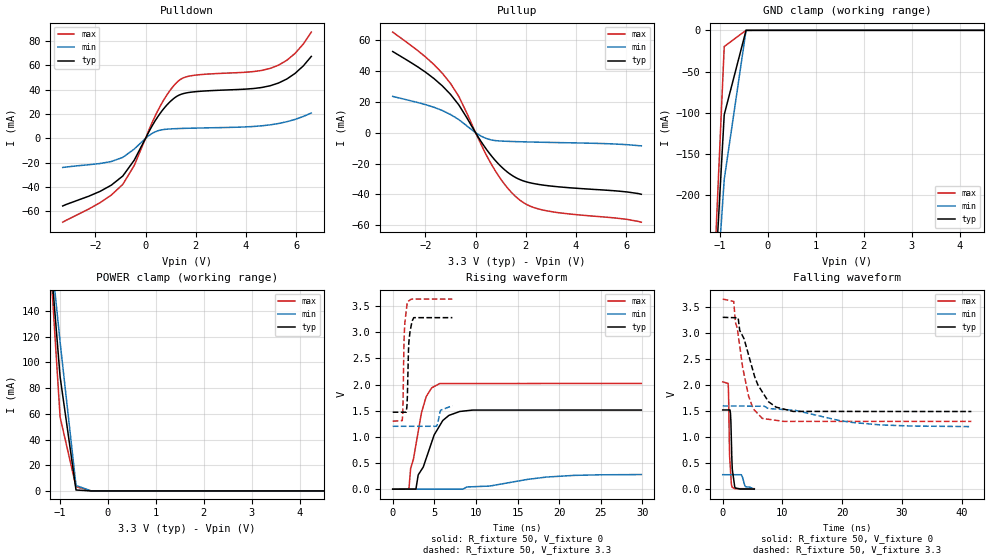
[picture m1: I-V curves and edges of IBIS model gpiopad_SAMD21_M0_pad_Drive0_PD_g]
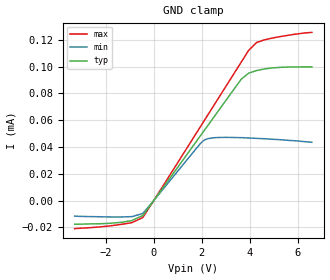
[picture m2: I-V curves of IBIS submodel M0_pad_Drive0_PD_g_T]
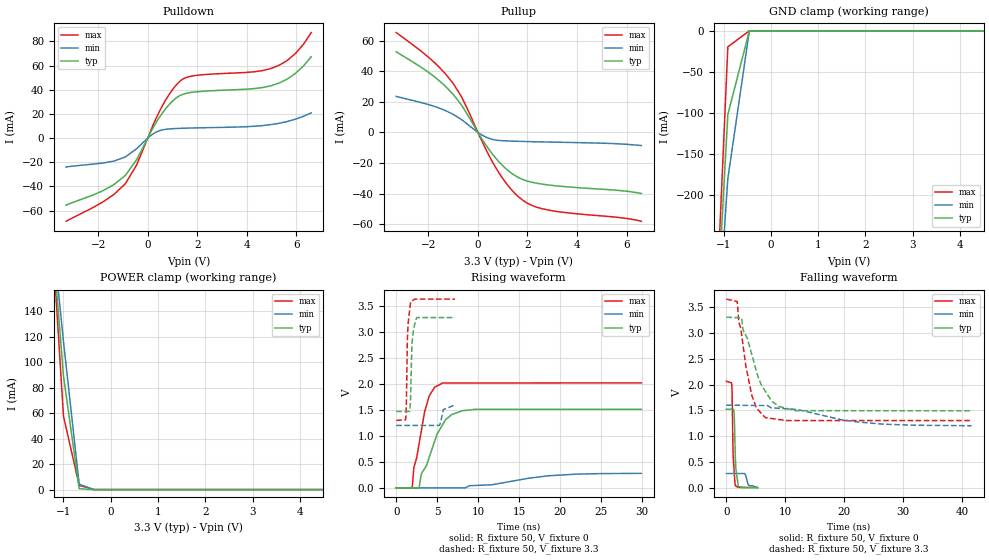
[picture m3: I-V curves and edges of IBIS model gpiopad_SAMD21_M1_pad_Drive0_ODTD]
|   - ATMEL Microcontrollers -
|   IBIS model for SAMD21_QFN48
[IBIS Ver]   4.2
[Comment char]  |_char
[File Name]   samd21_3m48.ibs
[File Rev]   1.1
[Date]   16-SEP-2015 11:09:59
[Source]   By GENIBIS V3.6 - GENerate chip IBIS model - 11-SEP-2015
[Notes]   Property of ATMEL Corporation
[Disclaimer]
                  (C) Copyright ATMEL Nantes 2002-2015
Atmel Nantes makes no warranty for the use of its products, other than
those expressly contained in the Company's standard warranty which is detailed
in Atmel's Terms and Conditions located on the Company's web site. The Company
assumes no responsability for any errors which may appear in this document.
The user is granted this license only to use the IBIS model and is not granted
rights to sell, load, rent, lease or license the IBIS model in whole or in part,
or in modified form to anyone other than user. User may modify the IBIS model
to suit its specific applications but rights to derivative works and such
modifications shall belong to Atmel Nantes.
This IBIS model is provided on an \"AS IS\" basis and Atmel Nantes makes
absolutely no warranty with respect to the information contained herein.
[Copyright]   Copyright (c) 2002-2015 by ATMEL Nantes SA
|   COMPONENT : SAMD21_QFN48
[Component]   SAMD21_QFN48
[Manufacturer]  ATMEL Nantes SAS
[Package]
| Package family : QFN
| RLC file   : V1.1
| RLCEDIT tool   : V1.3-2009/04/07
| variable   typ   min   max
R_pkg   126.68m   NA   NA
L_pkg   0.95n   NA   NA
C_pkg   47.54f   NA   NA
[Pin]   signal_name   model_name   R_pin   L_pin   C_pin
|   Real model names   <--->   IBIS model names
|   gpiopadrw100m33v3p66k25   gpiopad_SAMD21
|   gpiopadrw100m33v3p66k25   gpiopad_SAMD21
|   gpiopadrw100m33v3p66k25   gpiopad_SAMD21
|   gpiopadrw100m33v3p66k25   gpiopad_SAMD21
|   gpiopadrw100m33v3p66k25   gpiopad_SAMD21
|   gpiopadrw100m33v3p66k25   gpiopad_SAMD21
| gpiopadrtwihsmw100m33v3p66k25   gpiopadtwi_SAMD21
| gpiopadrtwihsmw100m33v3p66k25   gpiopadtwi_SAMD21
| gpiopadrtwihsmw100m33v3p66k25   gpiopadtwi_SAMD21
| gpiopadrtwihsmw100m33v3p66k25   gpiopadtwi_SAMD21
| gpiopadrtwihsmw100m33v3p66k25   gpiopadtwi_SAMD21
| gpiopadrtwihsmw100m33v3p66k25   gpiopadtwi_SAMD21
| gpiopadrtwihsmw100m33v3p66k25   gpiopadtwi_SAMD21
| gpiopadrtwihsmw100m33v3p66k25   gpiopadtwi_SAMD21
| gpiopadrtwihsmw100m33v3p66k25   gpiopadtwi_SAMD21
   1   PA00   gpiopad_SAMD21  154.09m   1.15n   47.51f
   2   PA01   gpiopad_SAMD21  133.72m   1.00n   46.39f
   3   PA02   gpiopad_SAMD21  124.65m  936.15p   45.89f
   4   PA03   gpiopad_SAMD21  112.49m  847.55p   45.23f
   5   GNDANA   GND   35.83m  288.70p   56.73f
   6   VDDANA   POWER   53.10m  414.56p   50.70f
   7   PB08   gpiopad_SAMD21  109.80m  827.95p   45.08f
   8   PB09   gpiopad_SAMD21  103.54m  782.32p   44.74f
   9   PA04   gpiopad_SAMD21  105.83m  799.02p   44.86f
   10   PA05   gpiopad_SAMD21  114.61m  862.97p   45.34f
   11   PA06   gpiopad_SAMD21  130.51m  978.88p   46.22f
   12   PA07   gpiopad_SAMD21  150.43m   1.12n   47.31f
   13   PA08   gpiopadtwi_SAMD21  172.57m   1.29n   48.52f
   14   PA09   gpiopadtwi_SAMD21  159.20m   1.19n   47.79f
   15   PA10   gpiopad_SAMD21  144.35m   1.08n   46.97f
   16   PA11   gpiopad_SAMD21  134.46m   1.01n   46.43f
   17   VDDIO   POWER  130.68m  980.18p   46.22f
   18   GND   GND  133.54m   1.00n   46.38f
   19   PB10   gpiopad_SAMD21  142.62m   1.07n   46.88f
   20   PB11   gpiopad_SAMD21  156.85m   1.17n   47.66f
   21   PA12   gpiopadtwi_SAMD21  133.03m  997.26p   46.35f
   22   PA13   gpiopadtwi_SAMD21  140.04m   1.05n   46.74f
   23   PA14   gpiopad_SAMD21  150.45m   1.12n   47.31f
   24   PA15   gpiopad_SAMD21  154.93m   1.16n   47.56f
   25   PA16   gpiopadtwi_SAMD21  164.47m   1.23n   48.08f
   26   PA17   gpiopadtwi_SAMD21  145.78m   1.09n   47.05f
   27   PA18   gpiopad_SAMD21  126.35m  948.56p   45.99f
   28   PA19   gpiopad_SAMD21  111.75m  842.15p   45.19f
   29   PA20   gpiopad_SAMD21  108.53m  818.65p   45.01f
   30   PA21   gpiopad_SAMD21  103.35m  780.90p   44.72f
   31   PA22   gpiopadtwi_SAMD21  103.65m  783.12p   44.74f
   32   PA23   gpiopadtwi_SAMD21  108.90m  821.37p   45.03f
   33   PA24   NC  121.18m  910.91p   45.70f
   34   PA25   NC  125.06m  939.14p   45.92f
   35   GND   GND  143.33m   1.07n   46.92f
   36   VDDIO   POWER  165.01m   1.23n   48.11f
   37   PB22   gpiopad_SAMD21  169.78m   1.27n   48.37f
   38   PB23   gpiopad_SAMD21  152.33m   1.14n   47.41f
   39   PA27   gpiopad_SAMD21  140.22m   1.05n   46.75f
   40   RESET_N   gpiopad_SAMD21  133.16m  998.23p   46.36f
   41   PA28   gpiopad_SAMD21  130.74m  980.62p   46.23f
   42   GND   GND   44.18m  349.58p   60.85f
   43   VDDCORE   POWER   43.62m  345.44p   60.57f
   44   VDDIO   POWER   66.28m  510.66p   53.59f
   45   PA30   gpiopad_SAMD21  139.73m   1.05n   46.72f
   46   PA31   gpiopad_SAMD21  153.02m   1.14n   47.45f
   47   PB02   gpiopad_SAMD21  140.79m   1.05n   46.78f
   48   PB03   gpiopad_SAMD21  158.00m   1.18n   47.72f
|   MODEL SELECTOR : gpiopadtwi_SAMD21
[Model Selector]   gpiopadtwi_SAMD21
gpiopadtwi_SAMD21_M8_TwiOnInt_gptwih   Twi On Int TwiOnInt
gpiopadtwi_SAMD21_M7_TwiOnFp_gpitwih   Twi On Fp TwiOnFp
gpiopadtwi_SAMD21_M6_TwiOn_gpioptwih   Twi On TwiOn
gpiopadtwi_SAMD21_M5_Drive1_PU_gtwih   drive 1 PU
gpiopadtwi_SAMD21_M4_Drive1_ODTdtwih   drive 1 ODT disabled
gpiopadtwi_SAMD21_M3_Drive1_NOPUtwih   drive 1 NOPU
gpiopadtwi_SAMD21_M2_Drive0_PU_gtwih   drive 0 PU
gpiopadtwi_SAMD21_M1_Drive0_ODTdtwih   drive 0 ODT disabled
gpiopadtwi_SAMD21_M0_Drive0_NOPUtwih   drive 0 NOPU
|   MODEL SELECTOR : gpiopad_SAMD21
[Model Selector]   gpiopad_SAMD21
gpiopad_SAMD21_M5_pad_Drive1_PU_g   drive 1 PU
gpiopad_SAMD21_M4_pad_Drive1_ODTD   drive 1 ODT Disabled
gpiopad_SAMD21_M3_pad_Drive1_PD_g   drive 1 PD
gpiopad_SAMD21_M2_pad_Drive0_PU_g   drive 0 PU
gpiopad_SAMD21_M1_pad_Drive0_ODTD   drive 0 ODT Disabled
gpiopad_SAMD21_M0_pad_Drive0_PD_g   drive 0 PD
| Models and submodels in the file (23): gpiopad_SAMD21_M0_pad_Drive0_PD_g (I/O), M0_pad_Drive0_PD_g_T (Dynamic_clamp), gpiopad_SAMD21_M1_pad_Drive0_ODTD (I/O), gpiopad_SAMD21_M2_pad_Drive0_PU_g (I/O), M2_pad_Drive0_PU_g_T (Dynamic_clamp), gpiopad_SAMD21_M3_pad_Drive1_PD_g (I/O), M3_pad_Drive1_PD_g_T (Dynamic_clamp), gpiopad_SAMD21_M4_pad_Drive1_ODTD (I/O), gpiopad_SAMD21_M5_pad_Drive1_PU_g (I/O), M5_pad_Drive1_PU_g_T (Dynamic_clamp), gpiopadtwi_SAMD21_M0_Drive0_NOPUtwih (I/O), M0_Drive0_NOPUtwih_T (Dynamic_clamp), gpiopadtwi_SAMD21_M1_Drive0_ODTdtwih (I/O), gpiopadtwi_SAMD21_M2_Drive0_PU_gtwih (I/O), M2_Drive0_PU_gtwih_T (Dynamic_clamp), gpiopadtwi_SAMD21_M3_Drive1_NOPUtwih (I/O), M3_Drive1_NOPUtwih_T (Dynamic_clamp), gpiopadtwi_SAMD21_M4_Drive1_ODTdtwih (I/O), gpiopadtwi_SAMD21_M5_Drive1_PU_gtwih (I/O), M5_Drive1_PU_gtwih_T (Dynamic_clamp), gpiopadtwi_SAMD21_M6_TwiOn_gpioptwih (I/O_open_sink), gpiopadtwi_SAMD21_M7_TwiOnFp_gpitwih (I/O_open_sink), gpiopadtwi_SAMD21_M8_TwiOnInt_gptwih (I/O_open_sink)
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|   MODEL : gpiopad_SAMD21_M0_pad_Drive0_PD_g
[Model] gpiopad_SAMD21_M0_pad_Drive0_PD_g
Model_type I/O
Vinl  =  0.99
Vinh  =  2.31
Vmeas =  1.650
| Capacitance   typ   min   max
C_comp   1.45231p   1.42406p   1.52865p
| Variables   typ   min   max
[GND Clamp Reference]   0   0   0
[POWER Clamp Reference]   3.3   1.6   3.65
[Pulldown Reference]   0   0   0
[Pullup Reference]   3.3   1.6   3.65
[Temperature Range]   25   105   -40
[Voltage Range]   3.3   1.6   3.65
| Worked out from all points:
|   slope of the pulldown table from 0 to 0.495 V, typ, clamps not added: 27.5 ohm
|   slope of the pullup table from 0 to 0.495 V, typ, clamps not added: 40.8 ohm
|   falling waveform, R_fixture 50, V_fixture 0: 20-80 % time 310ps typ, 447ps min, 268ps max; typ from 1.52 V to 0.005 V
|   falling waveform, R_fixture 50, V_fixture 3.3: 20-80 % time 3.37ns typ, 10.2ns min, 2.19ns max; typ from 3.3 V to 1.49 V
|   rising waveform, R_fixture 50, V_fixture 0: 20-80 % time 2.45ns typ, 6.98ns min, 1.57ns max; typ from 0 V to 1.51 V
|   rising waveform, R_fixture 50, V_fixture 3.3: 20-80 % time 243ps typ, 444ps min, 206ps max; typ from 1.47 V to 3.28 V
[GND Clamp]
| Voltage   I(typ)   I(min)   I(max)
-3.3V     -2.648A    -2.29A     -3.229A
-1.364V   -582.6mA   -574.2mA   -618.1mA
-909.1mV  -102.2mA   -180.5mA   -19.58mA
-454.5mV  -21.35uA   -51.34uA   -12.12uA
6.6V      0A         0A         0A
[POWER Clamp]
| Voltage   I(typ)   I(min)   I(max)
-3.3V     1.364A     1.145A     1.657A
-1.327V   242.2mA    237.8mA    253.7mA
-995.5mV  88.95mA    115.9mA    57.49mA
-663.6mV  729.7uA    4.271mA    3.277mA
-350mV    1.89uA     6.551uA    83.14uA
6.6V      0A         0A         0A
[Pulldown]
| Voltage   I(typ)   I(min)   I(max)
-3.3V     -55.55mA   -23.94mA   -68.88mA
-1.818V   -43.63mA   -20.7mA    -52.94mA
-909.1mV  -30.98mA   -15.68mA   -37.89mA
-454.5mV  -18.04mA   -8.89mA    -22.41mA
154.7mV   6.272mA    2.59mA     7.905mA
567.2mV   20.14mA    6.629mA    25.86mA
979.7mV   30.15mA    7.712mA    39.51mA
1.341V    35.55mA    8.051mA    47.68mA
1.959V    38.25mA    8.397mA    51.83mA
4.959V    43.17mA    11.07mA    57.42mA
5.955V    53.35mA    15.56mA    69.8mA
6.6V      67.29mA    20.81mA    87.26mA
[Pullup]
| Voltage   I(typ)   I(min)   I(max)
-3.3V     52.59mA    23.53mA    65.18mA
-1.991V   39.2mA     18.18mA    49.05mA
-1.327V   30.39mA    14.41mA    38.57mA
-995.5mV  24.79mA    11.78mA    31.87mA
-663.6mV  17.93mA    8.464mA    23.38mA
103.1mV   -2.756mA   -1.095mA   -3.561mA
670.3mV   -15.78mA   -4.81mA    -21.55mA
1.238V    -25.1mA    -5.553mA   -35.09mA
1.753V    -30.28mA   -5.829mA   -43.5mA
2.217V    -32.6mA    -6.025mA   -47.84mA
2.888V    -34.34mA   -6.261mA   -50.75mA
6.6V      -39.86mA   -8.525mA   -57.96mA
[Ramp]
dV/dt_r   0.913465/2.46764n  0.168178/6.98667n  1.23694/1.61372n
dV/dt_f   1.09661/3.43885n  0.238316/10.2022n  1.41004/2.19264n
R_load = 50
[Falling Waveform]
R_fixture = 50
V_fixture = 0
V_fixture_min = 0
V_fixture_max = 0
| Time   V(typ)   V(min)   V(max)
0s        1.522V     280.3mV    2.062V
901.1ps   1.522V     280.3mV    2.032V
986.8ps   1.522V     280.3mV    1.787V
1.12ns    1.522V     280.3mV    805mV
1.162ns   1.522V     280.3mV    621.2mV
1.372ns   1.29V      280.3mV    243.8mV
1.559ns   507.4mV    280.3mV    39.67mV
2.089ns   25.99mV    280.3mV    11.94mV
3.126ns   4.929mV    277.7mV    11.9mV
5.285ns   4.899mV    2.701mV    11.83mV
[Falling Waveform]
R_fixture = 50
V_fixture = 3.3
V_fixture_min = 1.6
V_fixture_max = 3.65
| Time   V(typ)   V(min)   V(max)
0s        3.3V       1.6V       3.65V
1.842ns   3.293V     1.598V     3.605V
2.124ns   3.292V     1.598V     3.206V
2.584ns   3.29V      1.598V     2.971V
2.851ns   3.049V     1.597V     2.747V
4.322ns   2.582V     1.596V     1.791V
6.634ns   1.868V     1.594V     1.359V
11.79ns   1.494V     1.519V     1.304V
21.69ns   1.494V     1.282V     1.304V
41.63ns   1.492V     1.203V     1.303V
[Rising Waveform]
R_fixture = 50
V_fixture = 0
V_fixture_min = 0
V_fixture_max = 0
| Time   V(typ)   V(min)   V(max)
0s        2.582nV    16.82nV    2.172nV
1.925ns   1.212mV    16.82nV    778.4uV
2.149ns   1.353mV    16.82nV    392.5mV
2.79ns    1.757mV    16.82nV    849mV
3.065ns   272.6mV    16.82nV    1.101V
4.022ns   587mV      16.82nV    1.77V
5.643ns   1.213V     16.82nV    2.02V
6.758ns   1.411V     16.82nV    2.02V
9.62ns    1.513V     46.47mV    2.02V
29.88ns   1.513V     279.7mV    2.023V
[Rising Waveform]
R_fixture = 50
V_fixture = 3.3
V_fixture_min = 1.6
V_fixture_max = 3.65
| Time   V(typ)   V(min)   V(max)
0s        1.472V     1.203V     1.3V
1.147ns   1.472V     1.203V     1.311V
1.24ns    1.472V     1.203V     1.655V
1.39ns    1.472V     1.203V     2.982V
1.758ns   1.76V      1.203V     3.584V
1.931ns   2.794V     1.203V     3.602V
2.527ns   3.281V     1.203V     3.636V
5.244ns   3.281V     1.203V     3.636V
5.754ns   3.281V     1.51V      3.636V
7.17ns    3.281V     1.596V     3.636V
[Add Submodel]
| Submodel Name Mode
M0_pad_Drive0_PD_g_T Non-Driving
| Submodel
[Submodel]  M0_pad_Drive0_PD_g_T
Submodel_type Dynamic_clamp
[GND Clamp]
| Voltage   I(typ)   I(min)   I(max)
-3.3V     -17.64uA   -11.56uA   -20.93uA
-1.364V   -16.21uA   -12.22uA   -17.76uA
-909.1mV  -14.89uA   -11.95uA   -16.44uA
-454.5mV  -11.05uA   -9.587uA   -12.61uA
2.062V    51.2uA     44.52uA    58.37uA
2.527V    62.72uA    46.91uA    71.5uA
3.65V     90.56uA    46.97uA    103.3uA
3.964V    95.13uA    46.73uA    112.2uA
4.295V    97.03uA    46.43uA    118uA
4.627V    98.26uA    46.13uA    120uA
5.291V    99.42uA    45.42uA    122.4uA
6.6V      99.78uA    43.54uA    125.5uA
|   MODEL : gpiopad_SAMD21_M1_pad_Drive0_ODTD
[Model] gpiopad_SAMD21_M1_pad_Drive0_ODTD
Model_type I/O
Vinl  =  0.99
Vinh  =  2.31
Vmeas =  1.650
| Capacitance   typ   min   max
C_comp   1.45231p   1.42406p   1.52865p
| Variables   typ   min   max
[GND Clamp Reference]   0   0   0
[POWER Clamp Reference]   3.3   1.6   3.65
[Pulldown Reference]   0   0   0
[Pullup Reference]   3.3   1.6   3.65
[Temperature Range]   25   105   -40
[Voltage Range]   3.3   1.6   3.65
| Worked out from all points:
|   slope of the pulldown table from 0 to 0.495 V, typ, clamps not added: 27.5 ohm
|   slope of the pullup table from 0 to 0.495 V, typ, clamps not added: 40.8 ohm
|   falling waveform, R_fixture 50, V_fixture 0: 20-80 % time 310ps typ, 447ps min, 268ps max; typ from 1.52 V to 0.005 V
|   falling waveform, R_fixture 50, V_fixture 3.3: 20-80 % time 3.37ns typ, 10.2ns min, 2.19ns max; typ from 3.3 V to 1.49 V
|   rising waveform, R_fixture 50, V_fixture 0: 20-80 % time 2.45ns typ, 6.98ns min, 1.57ns max; typ from 0 V to 1.51 V
|   rising waveform, R_fixture 50, V_fixture 3.3: 20-80 % time 243ps typ, 444ps min, 206ps max; typ from 1.47 V to 3.28 V
[GND Clamp]
| Voltage   I(typ)   I(min)   I(max)
-3.3V     -2.648A    -2.29A     -3.229A
-1.364V   -582.6mA   -574.2mA   -618.1mA
-909.1mV  -102.2mA   -180.5mA   -19.58mA
-454.5mV  -21.35uA   -51.34uA   -12.12uA
6.6V      0A         0A         0A
[POWER Clamp]
| Voltage   I(typ)   I(min)   I(max)
-3.3V     1.364A     1.145A     1.657A
-1.327V   242.2mA    237.8mA    253.7mA
-995.5mV  88.95mA    115.9mA    57.49mA
-663.6mV  729.7uA    4.271mA    3.277mA
-350mV    1.89uA     6.551uA    83.14uA
6.6V      0A         0A         0A
[Pulldown]
| Voltage   I(typ)   I(min)   I(max)
-3.3V     -55.55mA   -23.94mA   -68.88mA
-1.818V   -43.63mA   -20.7mA    -52.94mA
-909.1mV  -30.98mA   -15.68mA   -37.89mA
-454.5mV  -18.04mA   -8.89mA    -22.41mA
154.7mV   6.272mA    2.59mA     7.905mA
567.2mV   20.14mA    6.629mA    25.86mA
979.7mV   30.15mA    7.712mA    39.51mA
1.341V    35.55mA    8.051mA    47.68mA
1.959V    38.25mA    8.397mA    51.83mA
4.959V    43.17mA    11.07mA    57.42mA
5.955V    53.35mA    15.56mA    69.8mA
6.6V      67.29mA    20.81mA    87.26mA
[Pullup]
| Voltage   I(typ)   I(min)   I(max)
-3.3V     52.59mA    23.53mA    65.18mA
-1.991V   39.2mA     18.18mA    49.05mA
-1.327V   30.39mA    14.41mA    38.57mA
-995.5mV  24.79mA    11.78mA    31.87mA
-663.6mV  17.93mA    8.464mA    23.38mA
103.1mV   -2.756mA   -1.095mA   -3.561mA
670.3mV   -15.78mA   -4.81mA    -21.55mA
1.238V    -25.1mA    -5.553mA   -35.09mA
1.753V    -30.28mA   -5.829mA   -43.5mA
2.217V    -32.6mA    -6.025mA   -47.84mA
2.888V    -34.34mA   -6.261mA   -50.75mA
6.6V      -39.86mA   -8.525mA   -57.96mA
[Ramp]
dV/dt_r   0.913465/2.46764n  0.168178/6.98667n  1.23694/1.61372n
dV/dt_f   1.09661/3.43885n  0.238316/10.2022n  1.41004/2.19264n
R_load = 50
[Falling Waveform]
R_fixture = 50
V_fixture = 0
V_fixture_min = 0
V_fixture_max = 0
| Time   V(typ)   V(min)   V(max)
0s        1.522V     280.3mV    2.062V
901.1ps   1.522V     280.3mV    2.032V
986.8ps   1.522V     280.3mV    1.787V
1.12ns    1.522V     280.3mV    805mV
1.162ns   1.522V     280.3mV    621.2mV
1.372ns   1.29V      280.3mV    243.8mV
1.559ns   507.4mV    280.3mV    39.67mV
2.089ns   25.99mV    280.3mV    11.94mV
3.126ns   4.929mV    277.7mV    11.9mV
5.285ns   4.899mV    2.701mV    11.83mV
[Falling Waveform]
R_fixture = 50
V_fixture = 3.3
V_fixture_min = 1.6
V_fixture_max = 3.65
| Time   V(typ)   V(min)   V(max)
0s        3.3V       1.6V       3.65V
1.842ns   3.293V     1.598V     3.605V
2.124ns   3.292V     1.598V     3.206V
2.584ns   3.29V      1.598V     2.971V
2.851ns   3.049V     1.597V     2.747V
4.322ns   2.582V     1.596V     1.791V
6.634ns   1.868V     1.594V     1.359V
11.79ns   1.494V     1.519V     1.304V
21.69ns   1.494V     1.282V     1.304V
41.63ns   1.492V     1.203V     1.303V
[Rising Waveform]
R_fixture = 50
V_fixture = 0
V_fixture_min = 0
V_fixture_max = 0
| Time   V(typ)   V(min)   V(max)
0s        2.582nV    16.82nV    2.172nV
1.925ns   1.212mV    16.82nV    778.4uV
2.149ns   1.353mV    16.82nV    392.5mV
2.79ns    1.757mV    16.82nV    849mV
3.065ns   272.6mV    16.82nV    1.101V
4.022ns   587mV      16.82nV    1.77V
5.643ns   1.213V     16.82nV    2.02V
6.758ns   1.411V     16.82nV    2.02V
9.62ns    1.513V     46.47mV    2.02V
29.88ns   1.513V     279.7mV    2.023V
[Rising Waveform]
R_fixture = 50
V_fixture = 3.3
V_fixture_min = 1.6
V_fixture_max = 3.65
| Time   V(typ)   V(min)   V(max)
0s        1.472V     1.203V     1.3V
1.147ns   1.472V     1.203V     1.311V
1.24ns    1.472V     1.203V     1.655V
1.39ns    1.472V     1.203V     2.982V
1.758ns   1.76V      1.203V     3.584V
1.931ns   2.794V     1.203V     3.602V
2.527ns   3.281V     1.203V     3.636V
5.244ns   3.281V     1.203V     3.636V
5.754ns   3.281V     1.51V      3.636V
7.17ns    3.281V     1.596V     3.636V
